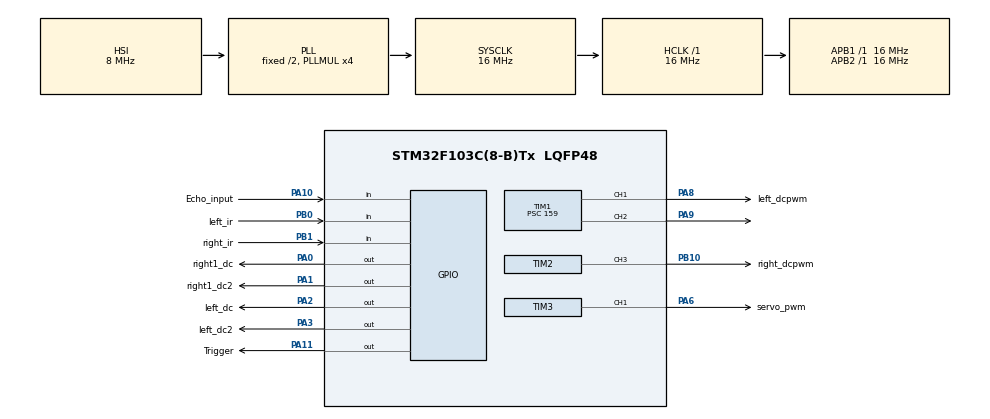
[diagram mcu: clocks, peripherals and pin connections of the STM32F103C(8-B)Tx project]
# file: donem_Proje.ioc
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Mcu.Family=STM32F1
Mcu.Name=STM32F103C(8-B)Tx
Mcu.Package=LQFP48
NVIC.PriorityGroup=NVIC_PRIORITYGROUP_4
PA0-WKUP.GPIO_Label=right1_dc
PA0-WKUP.Signal=GPIO_Output
PA1.GPIO_Label=right1_dc2
PA1.Signal=GPIO_Output
PA10.GPIO_Label=Echo_input
PA10.Signal=GPIO_Input
PA11.GPIO_Label=Trigger
PA11.Signal=GPIO_Output
PA13.Mode=Serial_Wire
PA13.Signal=SYS_JTMS-SWDIO
PA14.Mode=Serial_Wire
PA14.Signal=SYS_JTCK-SWCLK
PA2.GPIO_Label=left_dc
PA2.Signal=GPIO_Output
PA3.GPIO_Label=left_dc2
PA3.Signal=GPIO_Output
PA6.GPIO_Label=servo_pwm
PA6.Signal=S_TIM3_CH1
PA8.GPIO_Label=left_dcpwm
PA8.Signal=S_TIM1_CH1
PA9.Signal=S_TIM1_CH2
PB0.GPIO_Label=left_ir
PB0.Signal=GPIO_Input
PB1.GPIO_Label=right_ir
PB1.Signal=GPIO_Input
PB10.GPIO_Label=right_dcpwm
PB10.Signal=S_TIM2_CH3
ProjectManager.HeapSize=0x200
ProjectManager.StackSize=0x400
ProjectManager.TargetToolchain=MDK-ARM V5.32
RCC.AHBFreq_Value=16000000
RCC.APB1Freq_Value=16000000
RCC.APB1TimFreq_Value=16000000
RCC.APB2Freq_Value=16000000
RCC.APB2TimFreq_Value=16000000
RCC.HCLKFreq_Value=16000000
RCC.PLLMUL=RCC_PLL_MUL4
RCC.SYSCLKFreq_VALUE=16000000
RCC.SYSCLKSource=RCC_SYSCLKSOURCE_PLLCLK
RCC.USBFreq_Value=16000000
SH.S_TIM1_CH1.0=TIM1_CH1,PWM Generation1 CH1
SH.S_TIM1_CH2.0=TIM1_CH2,PWM Generation2 CH2
SH.S_TIM2_CH3.0=TIM2_CH3,PWM Generation3 CH3
SH.S_TIM3_CH1.0=TIM3_CH1,PWM Generation1 CH1
TIM1.Channel-PWM\ Generation1\ CH1=TIM_CHANNEL_1
TIM1.Channel-PWM\ Generation2\ CH2=TIM_CHANNEL_2
TIM1.Period=99
TIM1.Prescaler=159
TIM1.Pulse-PWM\ Generation1\ CH1=500
TIM2.Channel-PWM\ Generation3\ CH3=TIM_CHANNEL_3
TIM2.Period=99
TIM2.Prescaler=159
TIM3.Channel-PWM\ Generation1\ CH1=TIM_CHANNEL_1
TIM3.Channel-PWM\ Generation2\ CH2=TIM_CHANNEL_2
TIM3.Period=999
TIM3.Prescaler=319
VP_TIM1_VS_ClockSourceINT.Mode=Internal
VP_TIM2_VS_ClockSourceINT.Mode=Internal
VP_TIM3_VS_ClockSourceINT.Mode=Internal
board=custom

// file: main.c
/* USER CODE BEGIN Header */
/**
  ******************************************************************************
  * @file           : main.c
  * @brief          : Main program body
  ******************************************************************************
  * @attention
  *
  * Copyright (c) 2022 STMicroelectronics.
  * All rights reserved.
  *
  * This software is licensed under terms that can be found in the LICENSE file
  * in the root directory of this software component.
  * If no LICENSE file comes with this software, it is provided AS-IS.
  *
  ******************************************************************************
  */
/* USER CODE END Header */
#include "main.h"

TIM_HandleTypeDef htim1;
TIM_HandleTypeDef htim2;
TIM_HandleTypeDef htim3;

/* USER CODE BEGIN PV */
	int sayac=0;
	double mesafe=0;
	double mesafe2=0;
	int angle;
	int rightValue;
	int leftValue;

/* USER CODE END PV */

void SystemClock_Config(void);
static void MX_GPIO_Init(void);
static void MX_TIM1_Init(void);
static void MX_TIM3_Init(void);
static void MX_TIM2_Init(void);

/* USER CODE BEGIN 0 */
float hcsr04(){
HAL_GPIO_WritePin(GPIOA, Trigger_Pin, GPIO_PIN_SET);
HAL_Delay(10);
HAL_GPIO_WritePin(GPIOA, Trigger_Pin,GPIO_PIN_RESET);
while( !HAL_GPIO_ReadPin(GPIOA,Echo_input_Pin)){
sayac=0;
	 }
while( HAL_GPIO_ReadPin(GPIOA,Echo_input_Pin)){
sayac++;
}

mesafe= sayac /58;
HAL_Delay(60);
return mesafe;
}

/* USER CODE END 0 */

int main(void)
{

  /* MCU Configuration--------------------------------------------------------*/

  /* Reset of all peripherals, Initializes the Flash interface and the Systick. */
  HAL_Init();

  /* Configure the system clock */
  SystemClock_Config();

  /* Initialize all configured peripherals */
  MX_GPIO_Init();
  MX_TIM1_Init();
  MX_TIM3_Init();
  MX_TIM2_Init();
  /* USER CODE BEGIN 2 */
HAL_TIM_PWM_Start(&htim1,TIM_CHANNEL_1);
HAL_TIM_PWM_Start(&htim2,TIM_CHANNEL_3);
HAL_TIM_PWM_Start(&htim3,TIM_CHANNEL_1);
  /* USER CODE END 2 */

  /* Infinite loop */
  while (1)
  {

    /* USER CODE BEGIN 3 */

		 rightValue=HAL_GPIO_ReadPin(GPIOB,right_ir_Pin);
		 leftValue=HAL_GPIO_ReadPin(GPIOB,left_ir_Pin);
		mesafe2=hcsr04();
	for(angle = 90; angle <= 180; angle += 1){
	TIM3->CCR3=angle;
  HAL_Delay(15);
		}
			for(angle = 180; angle >= 0; angle-= 1) {
			TIM3->CCR3=angle;
			HAL_Delay(15);
				}
					for(angle = 0; angle<=90; angle += 1) {
					TIM3->CCR3=angle;
						HAL_Delay(15);
						}
						TIM1->CCR1=100;

if((rightValue==1) && (mesafe2>=10 && mesafe2<=30)&&(leftValue==1)){
  TIM1->CCR1=100;
	HAL_GPIO_WritePin(GPIOA,right1_dc_Pin,GPIO_PIN_RESET);
	HAL_GPIO_WritePin(GPIOA,right1_dc2_Pin,GPIO_PIN_SET);
	TIM2->CCR3=100;
	HAL_GPIO_WritePin(GPIOA,left_dc_Pin,GPIO_PIN_RESET);
	HAL_GPIO_WritePin(GPIOA,left_dc2_Pin,GPIO_PIN_SET);
}else if((rightValue==0)&&(leftValue==1)){
	TIM1->CCR1=100;
	HAL_GPIO_WritePin(GPIOA,right1_dc_Pin,GPIO_PIN_RESET);
	HAL_GPIO_WritePin(GPIOA,right1_dc2_Pin,GPIO_PIN_SET);
	TIM2->CCR3=50;
	HAL_GPIO_WritePin(GPIOA,left_dc_Pin,GPIO_PIN_SET);
	HAL_GPIO_WritePin(GPIOA,left_dc2_Pin,GPIO_PIN_RESET);
}else if((rightValue==1)&&(leftValue==0))  {
TIM1->CCR1=50;
	HAL_GPIO_WritePin(GPIOA,right1_dc_Pin,GPIO_PIN_SET);
	HAL_GPIO_WritePin(GPIOA,right1_dc2_Pin,GPIO_PIN_RESET);
	TIM2->CCR3=100;
	HAL_GPIO_WritePin(GPIOA,left_dc_Pin,GPIO_PIN_RESET);
	HAL_GPIO_WritePin(GPIOA,left_dc2_Pin,GPIO_PIN_SET);
}else if((rightValue==1)&&(leftValue==1)){
	TIM1->CCR1=0;
	HAL_GPIO_WritePin(GPIOA,right1_dc_Pin,GPIO_PIN_RESET);
	HAL_GPIO_WritePin(GPIOA,right1_dc2_Pin,GPIO_PIN_RESET);
	TIM2->CCR3=0;
	HAL_GPIO_WritePin(GPIOA,left_dc_Pin,GPIO_PIN_RESET);
	HAL_GPIO_WritePin(GPIOA,left_dc2_Pin,GPIO_PIN_RESET);
}else if(mesafe2>1&&mesafe2<10){
TIM1->CCR1=0;
	HAL_GPIO_WritePin(GPIOA,right1_dc_Pin,GPIO_PIN_RESET);
	HAL_GPIO_WritePin(GPIOA,right1_dc2_Pin,GPIO_PIN_RESET);
	TIM2->CCR3=0;
	HAL_GPIO_WritePin(GPIOA,left_dc_Pin,GPIO_PIN_RESET);
	HAL_GPIO_WritePin(GPIOA,left_dc2_Pin,GPIO_PIN_RESET);
}

//TIM1->CCR1=0;
//	HAL_GPIO_WritePin(GPIOA,right1_dc_Pin,GPIO_PIN_RESET);
//	HAL_GPIO_WritePin(GPIOA,right1_dc2_Pin,GPIO_PIN_RESET);
//	TIM2->CCR3=0;
//	HAL_GPIO_WritePin(GPIOA,left_dc_Pin,GPIO_PIN_RESET);
//	HAL_GPIO_WritePin(GPIOA,left_dc2_Pin,GPIO_PIN_RESET);

//  TIM1->CCR1=100;
//	HAL_GPIO_WritePin(GPIOA,right1_dc2_Pin,GPIO_PIN_SET);
//	HAL_GPIO_WritePin(GPIOA,right1_dc_Pin,GPIO_PIN_RESET);
////

//	TIM2->CCR3=100;
//	HAL_GPIO_WritePin(GPIOA,left_dc_Pin,GPIO_PIN_SET);
//	HAL_GPIO_WritePin(GPIOA,left_dc2_Pin,GPIO_PIN_RESET);

  }
  /* USER CODE END 3 */
}

void SystemClock_Config(void)
{
  RCC_OscInitTypeDef RCC_OscInitStruct = {0};
  RCC_ClkInitTypeDef RCC_ClkInitStruct = {0};

  /** Initializes the RCC Oscillators according to the specified parameters
  * in the RCC_OscInitTypeDef structure.
  */
  RCC_OscInitStruct.OscillatorType = RCC_OSCILLATORTYPE_HSI;
  RCC_OscInitStruct.HSIState = RCC_HSI_ON;
  RCC_OscInitStruct.HSICalibrationValue = RCC_HSICALIBRATION_DEFAULT;
  RCC_OscInitStruct.PLL.PLLState = RCC_PLL_ON;
  RCC_OscInitStruct.PLL.PLLSource = RCC_PLLSOURCE_HSI_DIV2;
  RCC_OscInitStruct.PLL.PLLMUL = RCC_PLL_MUL4;
  if (HAL_RCC_OscConfig(&RCC_OscInitStruct) != HAL_OK)
  {
    Error_Handler();
  }

  /** Initializes the CPU, AHB and APB buses clocks
  */
  RCC_ClkInitStruct.ClockType = RCC_CLOCKTYPE_HCLK|RCC_CLOCKTYPE_SYSCLK
                              |RCC_CLOCKTYPE_PCLK1|RCC_CLOCKTYPE_PCLK2;
  RCC_ClkInitStruct.SYSCLKSource = RCC_SYSCLKSOURCE_PLLCLK;
  RCC_ClkInitStruct.AHBCLKDivider = RCC_SYSCLK_DIV1;
  RCC_ClkInitStruct.APB1CLKDivider = RCC_HCLK_DIV1;
  RCC_ClkInitStruct.APB2CLKDivider = RCC_HCLK_DIV1;

  if (HAL_RCC_ClockConfig(&RCC_ClkInitStruct, FLASH_LATENCY_0) != HAL_OK)
  {
    Error_Handler();
  }
}

static void MX_TIM1_Init(void)
{

  TIM_ClockConfigTypeDef sClockSourceConfig = {0};
  TIM_MasterConfigTypeDef sMasterConfig = {0};
  TIM_OC_InitTypeDef sConfigOC = {0};
  TIM_BreakDeadTimeConfigTypeDef sBreakDeadTimeConfig = {0};

  htim1.Instance = TIM1;
  htim1.Init.Prescaler = 159;
  htim1.Init.CounterMode = TIM_COUNTERMODE_UP;
  htim1.Init.Period = 99;
  htim1.Init.ClockDivision = TIM_CLOCKDIVISION_DIV1;
  htim1.Init.RepetitionCounter = 0;
  htim1.Init.AutoReloadPreload = TIM_AUTORELOAD_PRELOAD_DISABLE;
  if (HAL_TIM_Base_Init(&htim1) != HAL_OK)
  {
    Error_Handler();
  }
  sClockSourceConfig.ClockSource = TIM_CLOCKSOURCE_INTERNAL;
  if (HAL_TIM_ConfigClockSource(&htim1, &sClockSourceConfig) != HAL_OK)
  {
    Error_Handler();
  }
  if (HAL_TIM_PWM_Init(&htim1) != HAL_OK)
  {
    Error_Handler();
  }
  sMasterConfig.MasterOutputTrigger = TIM_TRGO_RESET;
  sMasterConfig.MasterSlaveMode = TIM_MASTERSLAVEMODE_DISABLE;
  if (HAL_TIMEx_MasterConfigSynchronization(&htim1, &sMasterConfig) != HAL_OK)
  {
    Error_Handler();
  }
  sConfigOC.OCMode = TIM_OCMODE_PWM1;
  sConfigOC.Pulse = 500;
  sConfigOC.OCPolarity = TIM_OCPOLARITY_HIGH;
  sConfigOC.OCNPolarity = TIM_OCNPOLARITY_HIGH;
  sConfigOC.OCFastMode = TIM_OCFAST_DISABLE;
  sConfigOC.OCIdleState = TIM_OCIDLESTATE_RESET;
  sConfigOC.OCNIdleState = TIM_OCNIDLESTATE_RESET;
  if (HAL_TIM_PWM_ConfigChannel(&htim1, &sConfigOC, TIM_CHANNEL_1) != HAL_OK)
  {
    Error_Handler();
  }
  sConfigOC.Pulse = 0;
  if (HAL_TIM_PWM_ConfigChannel(&htim1, &sConfigOC, TIM_CHANNEL_2) != HAL_OK)
  {
    Error_Handler();
  }
  sBreakDeadTimeConfig.OffStateRunMode = TIM_OSSR_DISABLE;
  sBreakDeadTimeConfig.OffStateIDLEMode = TIM_OSSI_DISABLE;
  sBreakDeadTimeConfig.LockLevel = TIM_LOCKLEVEL_OFF;
  sBreakDeadTimeConfig.DeadTime = 0;
  sBreakDeadTimeConfig.BreakState = TIM_BREAK_DISABLE;
  sBreakDeadTimeConfig.BreakPolarity = TIM_BREAKPOLARITY_HIGH;
  sBreakDeadTimeConfig.AutomaticOutput = TIM_AUTOMATICOUTPUT_DISABLE;
  if (HAL_TIMEx_ConfigBreakDeadTime(&htim1, &sBreakDeadTimeConfig) != HAL_OK)
  {
    Error_Handler();
  }
  HAL_TIM_MspPostInit(&htim1);

}

static void MX_TIM2_Init(void)
{

  TIM_ClockConfigTypeDef sClockSourceConfig = {0};
  TIM_MasterConfigTypeDef sMasterConfig = {0};
  TIM_OC_InitTypeDef sConfigOC = {0};

  htim2.Instance = TIM2;
  htim2.Init.Prescaler = 159;
  htim2.Init.CounterMode = TIM_COUNTERMODE_UP;
  htim2.Init.Period = 99;
  htim2.Init.ClockDivision = TIM_CLOCKDIVISION_DIV1;
  htim2.Init.AutoReloadPreload = TIM_AUTORELOAD_PRELOAD_DISABLE;
  if (HAL_TIM_Base_Init(&htim2) != HAL_OK)
  {
    Error_Handler();
  }
  sClockSourceConfig.ClockSource = TIM_CLOCKSOURCE_INTERNAL;
  if (HAL_TIM_ConfigClockSource(&htim2, &sClockSourceConfig) != HAL_OK)
  {
    Error_Handler();
  }
  if (HAL_TIM_PWM_Init(&htim2) != HAL_OK)
  {
    Error_Handler();
  }
  sMasterConfig.MasterOutputTrigger = TIM_TRGO_RESET;
  sMasterConfig.MasterSlaveMode = TIM_MASTERSLAVEMODE_DISABLE;
  if (HAL_TIMEx_MasterConfigSynchronization(&htim2, &sMasterConfig) != HAL_OK)
  {
    Error_Handler();
  }
  sConfigOC.OCMode = TIM_OCMODE_PWM1;
  sConfigOC.Pulse = 0;
  sConfigOC.OCPolarity = TIM_OCPOLARITY_HIGH;
  sConfigOC.OCFastMode = TIM_OCFAST_DISABLE;
  if (HAL_TIM_PWM_ConfigChannel(&htim2, &sConfigOC, TIM_CHANNEL_3) != HAL_OK)
  {
    Error_Handler();
  }
  HAL_TIM_MspPostInit(&htim2);

}

static void MX_TIM3_Init(void)
{

  TIM_ClockConfigTypeDef sClockSourceConfig = {0};
  TIM_MasterConfigTypeDef sMasterConfig = {0};
  TIM_OC_InitTypeDef sConfigOC = {0};

  htim3.Instance = TIM3;
  htim3.Init.Prescaler = 319;
  htim3.Init.CounterMode = TIM_COUNTERMODE_UP;
  htim3.Init.Period = 999;
  htim3.Init.ClockDivision = TIM_CLOCKDIVISION_DIV1;
  htim3.Init.AutoReloadPreload = TIM_AUTORELOAD_PRELOAD_DISABLE;
  if (HAL_TIM_Base_Init(&htim3) != HAL_OK)
  {
    Error_Handler();
  }
  sClockSourceConfig.ClockSource = TIM_CLOCKSOURCE_INTERNAL;
  if (HAL_TIM_ConfigClockSource(&htim3, &sClockSourceConfig) != HAL_OK)
  {
    Error_Handler();
  }
  if (HAL_TIM_PWM_Init(&htim3) != HAL_OK)
  {
    Error_Handler();
  }
  sMasterConfig.MasterOutputTrigger = TIM_TRGO_RESET;
  sMasterConfig.MasterSlaveMode = TIM_MASTERSLAVEMODE_DISABLE;
  if (HAL_TIMEx_MasterConfigSynchronization(&htim3, &sMasterConfig) != HAL_OK)
  {
    Error_Handler();
  }
  sConfigOC.OCMode = TIM_OCMODE_PWM1;
  sConfigOC.Pulse = 0;
  sConfigOC.OCPolarity = TIM_OCPOLARITY_HIGH;
  sConfigOC.OCFastMode = TIM_OCFAST_DISABLE;
  if (HAL_TIM_PWM_ConfigChannel(&htim3, &sConfigOC, TIM_CHANNEL_1) != HAL_OK)
  {
    Error_Handler();
  }
  HAL_TIM_MspPostInit(&htim3);

}

static void MX_GPIO_Init(void)
{
  GPIO_InitTypeDef GPIO_InitStruct = {0};

  /* GPIO Ports Clock Enable */
  __HAL_RCC_GPIOA_CLK_ENABLE();
  __HAL_RCC_GPIOB_CLK_ENABLE();

  /*Configure GPIO pin Output Level */
  HAL_GPIO_WritePin(GPIOA, right1_dc_Pin|right1_dc2_Pin|left_dc_Pin|left_dc2_Pin
                          |Trigger_Pin, GPIO_PIN_RESET);

  /*Configure GPIO pins : right1_dc_Pin right1_dc2_Pin left_dc_Pin left_dc2_Pin
                           Trigger_Pin */
  GPIO_InitStruct.Pin = right1_dc_Pin|right1_dc2_Pin|left_dc_Pin|left_dc2_Pin
                          |Trigger_Pin;
  GPIO_InitStruct.Mode = GPIO_MODE_OUTPUT_PP;
  GPIO_InitStruct.Pull = GPIO_NOPULL;
  GPIO_InitStruct.Speed = GPIO_SPEED_FREQ_LOW;
  HAL_GPIO_Init(GPIOA, &GPIO_InitStruct);

  /*Configure GPIO pins : left_ir_Pin right_ir_Pin */
  GPIO_InitStruct.Pin = left_ir_Pin|right_ir_Pin;
  GPIO_InitStruct.Mode = GPIO_MODE_INPUT;
  GPIO_InitStruct.Pull = GPIO_NOPULL;
  HAL_GPIO_Init(GPIOB, &GPIO_InitStruct);

  /*Configure GPIO pin : Echo_input_Pin */
  GPIO_InitStruct.Pin = Echo_input_Pin;
  GPIO_InitStruct.Mode = GPIO_MODE_INPUT;
  GPIO_InitStruct.Pull = GPIO_NOPULL;
  HAL_GPIO_Init(Echo_input_GPIO_Port, &GPIO_InitStruct);

}

void Error_Handler(void)
{
  __disable_irq();
  while (1)
  {
  }
}
